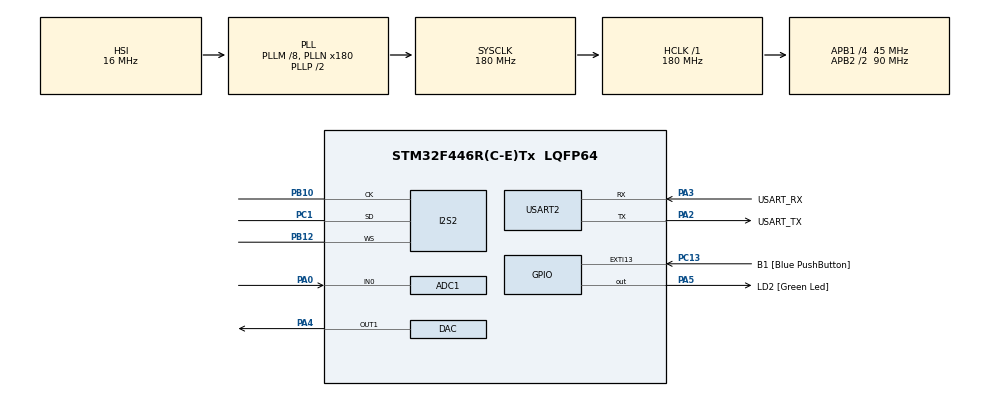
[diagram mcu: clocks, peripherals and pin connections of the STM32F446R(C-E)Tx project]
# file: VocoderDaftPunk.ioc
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ADC1.Channel-0\#ChannelRegularConversion=ADC_CHANNEL_0
ADC1.NbrOfConversionFlag=1
ADC1.Rank-0\#ChannelRegularConversion=1
ADC1.SamplingTime-0\#ChannelRegularConversion=ADC_SAMPLETIME_84CYCLES
ADC1.master=1
DAC.DAC_Trigger=DAC_TRIGGER_T6_TRGO
Dma.DAC1.1.Direction=DMA_MEMORY_TO_PERIPH
Dma.DAC1.1.FIFOMode=DMA_FIFOMODE_DISABLE
Dma.DAC1.1.Instance=DMA1_Stream5
Dma.DAC1.1.MemDataAlignment=DMA_MDATAALIGN_HALFWORD
Dma.DAC1.1.MemInc=DMA_MINC_ENABLE
Dma.DAC1.1.Mode=DMA_CIRCULAR
Dma.DAC1.1.PeriphDataAlignment=DMA_PDATAALIGN_HALFWORD
Dma.DAC1.1.PeriphInc=DMA_PINC_DISABLE
Dma.DAC1.1.Priority=DMA_PRIORITY_HIGH
Dma.Request0=SPI2_RX
Dma.Request1=DAC1
Dma.SPI2_RX.0.Direction=DMA_PERIPH_TO_MEMORY
Dma.SPI2_RX.0.FIFOMode=DMA_FIFOMODE_DISABLE
Dma.SPI2_RX.0.Instance=DMA1_Stream3
Dma.SPI2_RX.0.MemDataAlignment=DMA_MDATAALIGN_HALFWORD
Dma.SPI2_RX.0.MemInc=DMA_MINC_ENABLE
Dma.SPI2_RX.0.Mode=DMA_CIRCULAR
Dma.SPI2_RX.0.PeriphDataAlignment=DMA_PDATAALIGN_HALFWORD
Dma.SPI2_RX.0.PeriphInc=DMA_PINC_DISABLE
Dma.SPI2_RX.0.Priority=DMA_PRIORITY_HIGH
I2S2.AudioFreq=I2S_AUDIOFREQ_16K
I2S2.DataFormat=I2S_DATAFORMAT_24B
I2S2.ErrorAudioFreq=-0.26 %
I2S2.FullDuplexMode=I2S_FULLDUPLEXMODE_DISABLE
I2S2.Instance=SPI$Index
I2S2.Mode=I2S_MODE_MASTER_RX
I2S2.RealAudioFreq=15.957 KHz
I2S2.VirtualMode=I2S_MODE_MASTER
Mcu.Family=STM32F4
Mcu.Name=STM32F446R(C-E)Tx
Mcu.Package=LQFP64
NVIC.DMA1_Stream3_IRQn=true\:0\:0\:false\:false\:true\:false\:true\:true
NVIC.DMA1_Stream5_IRQn=true\:0\:0\:false\:false\:true\:false\:true\:true
NVIC.PriorityGroup=NVIC_PRIORITYGROUP_0
NVIC.SPI2_IRQn=true\:0\:0\:false\:false\:true\:true\:true\:true
PA0-WKUP.Signal=ADCx_IN0
PA13.GPIO_Label=TMS
PA13.Signal=SYS_JTMS-SWDIO
PA14.GPIO_Label=TCK
PA14.Signal=SYS_JTCK-SWCLK
PA2.GPIO_Label=USART_TX
PA2.Mode=Asynchronous
PA2.Signal=USART2_TX
PA3.GPIO_Label=USART_RX
PA3.Mode=Asynchronous
PA3.Signal=USART2_RX
PA4.Signal=COMP_DAC1_group
PA5.GPIO_Label=LD2 [Green Led]
PA5.Signal=GPIO_Output
PB10.Mode=Half_Duplex_Master
PB10.Signal=I2S2_CK
PB12.Mode=Half_Duplex_Master
PB12.Signal=I2S2_WS
PB3.GPIO_Label=SWO
PB3.Signal=SYS_JTDO-SWO
PC1.Mode=Half_Duplex_Master
PC1.Signal=I2S2_SD
PC13.GPIO_Label=B1 [Blue PushButton]
PC13.GPIO_ModeDefaultEXTI=GPIO_MODE_IT_FALLING
PC13.Signal=GPXTI13
PC14-OSC32_IN.Signal=RCC_OSC32_IN
PC15-OSC32_OUT.Signal=RCC_OSC32_OUT
PH0-OSC_IN.Signal=RCC_OSC_IN
PH1-OSC_OUT.Signal=RCC_OSC_OUT
ProjectManager.HeapSize=0x200
ProjectManager.StackSize=0x400
ProjectManager.TargetToolchain=STM32CubeIDE
RCC.AHBFreq_Value=180000000
RCC.APB1CLKDivider=RCC_HCLK_DIV4
RCC.APB1Freq_Value=45000000
RCC.APB1TimFreq_Value=90000000
RCC.APB2CLKDivider=RCC_HCLK_DIV2
RCC.APB2Freq_Value=90000000
RCC.APB2TimFreq_Value=180000000
RCC.CortexFreq_Value=180000000
RCC.FLatency-AdvancedSettings=FLASH_LATENCY_5
RCC.HCLKFreq_Value=180000000
RCC.HSE_VALUE=8000000
RCC.HSI_VALUE=16000000
RCC.LSE_VALUE=32768
RCC.PLLM=8
RCC.PLLN=180
RCC.SYSCLKFreq_VALUE=180000000
RCC.SYSCLKSource=RCC_SYSCLKSOURCE_PLLCLK
RCC.USBFreq_Value=180000000
RCC.VCOOutputFreq_Value=360000000
SH.ADCx_IN0.0=ADC1_IN0,IN0
SH.COMP_DAC1_group.0=DAC_OUT1,DAC_OUT1
TIM6.AutoReloadPreload=TIM_AUTORELOAD_PRELOAD_ENABLE
TIM6.Period=5624
TIM6.TIM_MasterOutputTrigger=TIM_TRGO_UPDATE
USART2.VirtualMode=VM_ASYNC
VP_TIM6_VS_ClockSourceINT.Mode=Enable_Timer
board=NUCLEO-F446RE

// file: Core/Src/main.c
/* USER CODE BEGIN Header */
/**
  ******************************************************************************
  * @file           : main.c
  * @brief          : Daft Punk Vocoder — STM32F446RE
  ******************************************************************************
  */
/* USER CODE END Header */
#include "main.h"
#include "adc.h"
#include "dac.h"
#include "dma.h"
#include "i2s.h"
#include "tim.h"
#include "usart.h"
#include "gpio.h"

/* USER CODE BEGIN Includes */
#include <string.h>
/* USER CODE END Includes */

/* USER CODE BEGIN PD */
#define BLOCK_SIZE       64
#define I2S_BUF_SIZE     (BLOCK_SIZE * 4 * 2)   /* 512 */
#define DAC_BUF_SIZE     (BLOCK_SIZE * 2)        /* 128 */
#define NUM_BANDS        8
#define SAMPLE_RATE      16000.0f
#define TWO_PI           6.2831853f

#define NUM_PRESETS      5
#define MELODY_MODE      5
#define TOTAL_MODES      6

#define MELODY_LEN       16
#define NOTE_MS          250    /* ~120 BPM */
/* USER CODE END PD */

/* USER CODE BEGIN PV */
static int16_t  i2s_rx_buf[I2S_BUF_SIZE];
static uint16_t dac_tx_buf[DAC_BUF_SIZE];
static volatile uint8_t i2s_half_ready = 0;
static volatile uint8_t i2s_full_ready = 0;

/* ── Presets de carrier ── */
static const float carrier_presets[NUM_PRESETS] = {
    100.0f, 130.0f, 150.0f, 200.0f, 250.0f
};
static uint8_t current_mode = 2;   /* arranca en 150 Hz */

/* ── Melodía estilo HBFS (C#3-F3-G#3 zona) ── */
static const float melody_notes[MELODY_LEN] = {
    139, 139, 156, 156,   /* "Har-der  bet-ter"   C#3 D#3 */
    175, 175, 139, 139,   /* "fas-ter  stron-ger"  F3  C#3 */
    139, 139, 156, 156,   /* "more-than ev-er"     C#3 D#3 */
    175, 175, 208, 208,   /* "hour-af   ter-our"   F3  G#3 */
};

/* ── Picos de bandas para LEDs (compartido con while-loop) ── */
static volatile float band_peaks[NUM_BANDS] = {0};
/* USER CODE END PV */

void SystemClock_Config(void);

/* USER CODE BEGIN 0 */

/* ══════════════════════════════════════════════════════════
 *  FILTRO BIQUAD
 * ══════════════════════════════════════════════════════════ */
typedef struct {
    float b0, b1, b2;
    float a1, a2;
    float z1, z2;
} Biquad;

static float my_sinf(float x);
static float my_cosf(float x);
static float my_expf(float x);

/* sinf/cosf/expf wrappers — evitan dependencia de -lm */
static float my_sinf(float x) {
    /* Reducir a [-PI, PI] */
    while (x > 3.14159265f)  x -= 6.28318530f;
    while (x < -3.14159265f) x += 6.28318530f;
    /* Padé-aproximación rápida */
    float x2 = x * x;
    return x * (1.0f - x2 / 6.0f * (1.0f - x2 / 20.0f * (1.0f - x2 / 42.0f)));
}

static float my_cosf(float x) {
    return my_sinf(x + 1.5707963f);
}

static float my_expf(float x) {
    /* Aproximación rápida para valores pequeños negativos */
    if (x < -4.0f) return 0.0f;
    if (x > 4.0f)  return 54.598f;
    float r = 1.0f + x / 16.0f;
    r *= r; r *= r; r *= r; r *= r;   /* (1+x/16)^16 */
    return r;
}

static void Biquad_InitBandpass(Biquad *f, float fc, float Q) {
    float w0 = TWO_PI * fc / SAMPLE_RATE;
    float alpha = my_sinf(w0) / (2.0f * Q);
    float a0_inv = 1.0f / (1.0f + alpha);

    f->b0 =  alpha * a0_inv;
    f->b1 =  0.0f;
    f->b2 = -alpha * a0_inv;
    f->a1 = -2.0f * my_cosf(w0) * a0_inv;
    f->a2 =  (1.0f - alpha) * a0_inv;
    f->z1 = 0.0f;
    f->z2 = 0.0f;
}

static inline float Biquad_Process(Biquad *f, float in) {
    float out = f->b0 * in + f->z1;
    f->z1 = f->b1 * in - f->a1 * out + f->z2;
    f->z2 = f->b2 * in - f->a2 * out;
    return out;
}

/* ══════════════════════════════════════════════════════════
 *  DETECTOR DE ENVOLVENTE
 * ══════════════════════════════════════════════════════════ */
typedef struct {
    float env;
    float attack;
    float release;
} EnvFollower;

static void EnvFollower_Init(EnvFollower *e, float attack_ms, float release_ms) {
    e->env = 0.0f;
    e->attack  = 1.0f - my_expf(-1.0f / (SAMPLE_RATE * attack_ms / 1000.0f));
    e->release = 1.0f - my_expf(-1.0f / (SAMPLE_RATE * release_ms / 1000.0f));
}

static inline float EnvFollower_Process(EnvFollower *e, float in) {
    float abs_in = (in < 0.0f) ? -in : in;
    if (abs_in > e->env)
        e->env += e->attack * (abs_in - e->env);
    else
        e->env += e->release * (abs_in - e->env);
    return e->env;
}

/* ══════════════════════════════════════════════════════════
 *  OSCILADOR DIENTE DE SIERRA
 * ══════════════════════════════════════════════════════════ */
typedef struct {
    float phase;
    float phase_inc;
} SawOsc;

static void SawOsc_SetFreq(SawOsc *osc, float freq) {
    osc->phase_inc = freq / SAMPLE_RATE;
}

static inline float SawOsc_Process(SawOsc *osc) {
    float out = 2.0f * osc->phase - 1.0f;
    osc->phase += osc->phase_inc;
    if (osc->phase >= 1.0f)
        osc->phase -= 1.0f;
    return out;
}

/* ══════════════════════════════════════════════════════════
 *  VOCODER
 * ══════════════════════════════════════════════════════════ */
typedef struct {
    Biquad      analysis[NUM_BANDS];
    Biquad      synthesis[NUM_BANDS];
    EnvFollower envelope[NUM_BANDS];
    SawOsc      carrier;
    float       band_gain[NUM_BANDS];
} Vocoder;

static Vocoder voc;

static const float band_freqs[NUM_BANDS] = {
    200.0f, 400.0f, 800.0f, 1200.0f,
    2000.0f, 3200.0f, 4800.0f, 6400.0f
};

static const float band_Q[NUM_BANDS] = {
    8.0f, 8.0f, 8.0f, 8.0f,
    8.0f, 8.0f, 8.0f, 8.0f
};

static void Vocoder_Init(Vocoder *v, float carrier_freq) {
    for (int i = 0; i < NUM_BANDS; i++) {
        Biquad_InitBandpass(&v->analysis[i],  band_freqs[i], band_Q[i]);
        Biquad_InitBandpass(&v->synthesis[i], band_freqs[i], band_Q[i]);
        EnvFollower_Init(&v->envelope[i], 0.5f, 10.0f);
        v->band_gain[i] = 1.0f;
    }
    /* Boost medios/agudos para inteligibilidad robótica */
    v->band_gain[2] = 1.5f;   /* 800 Hz  */
    v->band_gain[3] = 2.0f;   /* 1200 Hz */
    v->band_gain[4] = 2.0f;   /* 2000 Hz */
    v->band_gain[5] = 1.8f;   /* 3200 Hz */
    v->band_gain[6] = 1.5f;   /* 4800 Hz */
    v->band_gain[7] = 1.2f;   /* 6400 Hz */

    v->carrier.phase = 0.0f;
    SawOsc_SetFreq(&v->carrier, carrier_freq);
}

static inline float Vocoder_Process(Vocoder *v, float voice_in) {
    float carrier_sample = SawOsc_Process(&v->carrier);
    float output = 0.0f;

    for (int i = 0; i < NUM_BANDS; i++) {
        float band_voice   = Biquad_Process(&v->analysis[i], voice_in);
        float env          = EnvFollower_Process(&v->envelope[i], band_voice);
        float band_carrier = Biquad_Process(&v->synthesis[i], carrier_sample);
        output += band_carrier * env * v->band_gain[i];
    }
    return output;
}

/* ══════════════════════════════════════════════════════════
 *  PROCESAMIENTO DE AUDIO
 * ══════════════════════════════════════════════════════════ */

static void process_audio_block(int16_t *i2s_ptr, uint16_t *dac_ptr) {
    static int32_t gate_level = 0;

    for (int i = 0; i < BLOCK_SIZE; i++) {
        int32_t raw = (int32_t)i2s_ptr[i * 4];
        int32_t abs_r = (raw < 0) ? -raw : raw;

        /* Noise gate */
        if (abs_r > gate_level)
            gate_level += (abs_r - gate_level) >> 4;
        else
            gate_level -= (gate_level - abs_r) >> 8;

        if (gate_level < 400) {
            dac_ptr[i] = 2048;
        } else {
            float voice_in = (float)raw / 16384.0f;
            float voc_out  = Vocoder_Process(&voc, voice_in);

            int32_t out = (int32_t)(voc_out * 8192.0f) + 2048;
            if (out < 0) out = 0;
            if (out > 4095) out = 4095;
            dac_ptr[i] = (uint16_t)out;
        }

        /* Acumular picos para LEDs */
        for (int b = 0; b < NUM_BANDS; b++) {
            float e = voc.envelope[b].env;
            if (e > band_peaks[b])
                band_peaks[b] = e;
        }
    }
}

/* ── CALLBACKS DMA ── */
void HAL_I2S_RxHalfCpltCallback(I2S_HandleTypeDef *hi2s) {
    if (hi2s->Instance == SPI2) i2s_half_ready = 1;
}
void HAL_I2S_RxCpltCallback(I2S_HandleTypeDef *hi2s) {
    if (hi2s->Instance == SPI2) i2s_full_ready = 1;
}

/* USER CODE END 0 */

int main(void)
{
  HAL_Init();
  SystemClock_Config();

  MX_GPIO_Init();
  MX_DMA_Init();
  MX_I2S2_Init();
  MX_DAC_Init();
  MX_ADC1_Init();
  MX_TIM6_Init();
  MX_USART2_UART_Init();

  /* USER CODE BEGIN 2 */
  Vocoder_Init(&voc, 150.0f);

  HAL_I2S_Receive_DMA(&hi2s2, (uint16_t *)i2s_rx_buf, I2S_BUF_SIZE / 2);
  HAL_TIM_Base_Start(&htim6);
  HAL_DAC_Start_DMA(&hdac, DAC_CHANNEL_1,
                    (uint32_t *)dac_tx_buf, DAC_BUF_SIZE,
                    DAC_ALIGN_12B_R);
  /* USER CODE END 2 */

  /* USER CODE BEGIN WHILE */
  while (1)
  {
      /* ═══ BOTÓN B1: ciclar modos ═══ */
      {
          static uint8_t btn_prev = 0;
          static uint32_t btn_tick = 0;

          if (HAL_GetTick() - btn_tick > 200) {
              uint8_t btn = (HAL_GPIO_ReadPin(GPIOC, GPIO_PIN_13) == GPIO_PIN_SET);
              if (btn && !btn_prev) {
                  current_mode = (current_mode + 1) % TOTAL_MODES;

                  if (current_mode < NUM_PRESETS) {
                      /* Modo fijo */
                      SawOsc_SetFreq(&voc.carrier, carrier_presets[current_mode]);
                  }
                  /* Modo melodía: el secuenciador abajo se encarga */

                  HAL_GPIO_TogglePin(GPIOA, GPIO_PIN_5);
                  btn_tick = HAL_GetTick();
              }
              btn_prev = btn;
          }
      }

      /* ═══ SECUENCIADOR MELODÍA (solo en modo MELODY) ═══ */
      if (current_mode == MELODY_MODE) {
          static uint32_t mel_tick = 0;
          static uint8_t  mel_step = 0;

          if (HAL_GetTick() - mel_tick >= NOTE_MS) {
              SawOsc_SetFreq(&voc.carrier, melody_notes[mel_step]);
              mel_step = (mel_step + 1) % MELODY_LEN;
              mel_tick = HAL_GetTick();

              /* Parpadear LED al ritmo */
              HAL_GPIO_TogglePin(GPIOA, GPIO_PIN_5);
          }
      }

      /* ═══ UART → Arduino NeoPixel (cada ~33 ms) ═══ */
      {
          static uint32_t led_tick = 0;
          if (HAL_GetTick() - led_tick >= 33) {
              uint8_t pkt[10];
              pkt[0] = 0xFF;                        /* start */
              for (int b = 0; b < 8; b++) {
                  int32_t v = (int32_t)(band_peaks[b] * 3000.0f);
                  if (v > 254) v = 254;
                  if (v < 0)   v = 0;
                  pkt[b + 1] = (uint8_t)v;
                  band_peaks[b] = 0.0f;             /* reset */
              }
              pkt[9] = 0xFE;                        /* end */
              HAL_UART_Transmit(&huart2, pkt, 10, 2);
              led_tick = HAL_GetTick();
          }
      }

      /* ═══ PROCESAMIENTO DE AUDIO ═══ */
      if (i2s_half_ready) {
          i2s_half_ready = 0;
          process_audio_block(&i2s_rx_buf[0], &dac_tx_buf[0]);
      }
      if (i2s_full_ready) {
          i2s_full_ready = 0;
          process_audio_block(&i2s_rx_buf[I2S_BUF_SIZE / 2],
                              &dac_tx_buf[DAC_BUF_SIZE / 2]);
      }

    /* USER CODE END WHILE */
  }
}

void SystemClock_Config(void)
{
  RCC_OscInitTypeDef RCC_OscInitStruct = {0};
  RCC_ClkInitTypeDef RCC_ClkInitStruct = {0};
  RCC_PeriphCLKInitTypeDef PeriphClkInitStruct = {0};

  /** Voltaje Scale 1 para 180 MHz */
  __HAL_RCC_PWR_CLK_ENABLE();
  __HAL_PWR_VOLTAGESCALING_CONFIG(PWR_REGULATOR_VOLTAGE_SCALE1);

  /** HSI -> PLL: 16/8 * 180 / 2 = 180 MHz */
  RCC_OscInitStruct.OscillatorType = RCC_OSCILLATORTYPE_HSI;
  RCC_OscInitStruct.HSIState = RCC_HSI_ON;
  RCC_OscInitStruct.HSICalibrationValue = RCC_HSICALIBRATION_DEFAULT;
  RCC_OscInitStruct.PLL.PLLState = RCC_PLL_ON;
  RCC_OscInitStruct.PLL.PLLSource = RCC_PLLSOURCE_HSI;
  RCC_OscInitStruct.PLL.PLLM = 8;
  RCC_OscInitStruct.PLL.PLLN = 180;
  RCC_OscInitStruct.PLL.PLLP = RCC_PLLP_DIV2;
  RCC_OscInitStruct.PLL.PLLQ = 2;
  RCC_OscInitStruct.PLL.PLLR = 2;
  if (HAL_RCC_OscConfig(&RCC_OscInitStruct) != HAL_OK)
  {
    Error_Handler();
  }

  /** Over-Drive para alcanzar 180 MHz */
  if (HAL_PWREx_EnableOverDrive() != HAL_OK)
  {
    Error_Handler();
  }

  /** AHB=180, APB1=45 (/4), APB2=90 (/2), Flash 5 wait states */
  RCC_ClkInitStruct.ClockType = RCC_CLOCKTYPE_HCLK | RCC_CLOCKTYPE_SYSCLK
                              | RCC_CLOCKTYPE_PCLK1 | RCC_CLOCKTYPE_PCLK2;
  RCC_ClkInitStruct.SYSCLKSource = RCC_SYSCLKSOURCE_PLLCLK;
  RCC_ClkInitStruct.AHBCLKDivider = RCC_SYSCLK_DIV1;
  RCC_ClkInitStruct.APB1CLKDivider = RCC_HCLK_DIV4;
  RCC_ClkInitStruct.APB2CLKDivider = RCC_HCLK_DIV2;
  if (HAL_RCC_ClockConfig(&RCC_ClkInitStruct, FLASH_LATENCY_5) != HAL_OK)
  {
    Error_Handler();
  }

  /** PLLI2S para I2S2 (SPI2 esta en APB1) */
  PeriphClkInitStruct.PeriphClockSelection = RCC_PERIPHCLK_I2S_APB1;
  PeriphClkInitStruct.PLLI2S.PLLI2SM = 8;
  PeriphClkInitStruct.PLLI2S.PLLI2SN = 192;
  PeriphClkInitStruct.PLLI2S.PLLI2SP = RCC_PLLI2SP_DIV2;
  PeriphClkInitStruct.PLLI2S.PLLI2SQ = 2;
  PeriphClkInitStruct.PLLI2S.PLLI2SR = 2;
  PeriphClkInitStruct.I2sApb1ClockSelection = RCC_I2SAPB1CLKSOURCE_PLLI2S;
  if (HAL_RCCEx_PeriphCLKConfig(&PeriphClkInitStruct) != HAL_OK)
  {
    Error_Handler();
  }
}

void Error_Handler(void)
{
  __disable_irq();
  while (1)
  {
  }
}

#ifdef  USE_FULL_ASSERT
/**
  * @brief  Reports the name of the source file and the source line number
  *         where the assert_param error has occurred.
  * @param  file: pointer to the source file name
  * @param  line: assert_param error line source number
  * @retval None
  */
void assert_failed(uint8_t *file, uint32_t line)
{
  /* USER CODE BEGIN 6 */
  (void)file;
  (void)line;
  /* USER CODE END 6 */
}
#endif /* USE_FULL_ASSERT */
